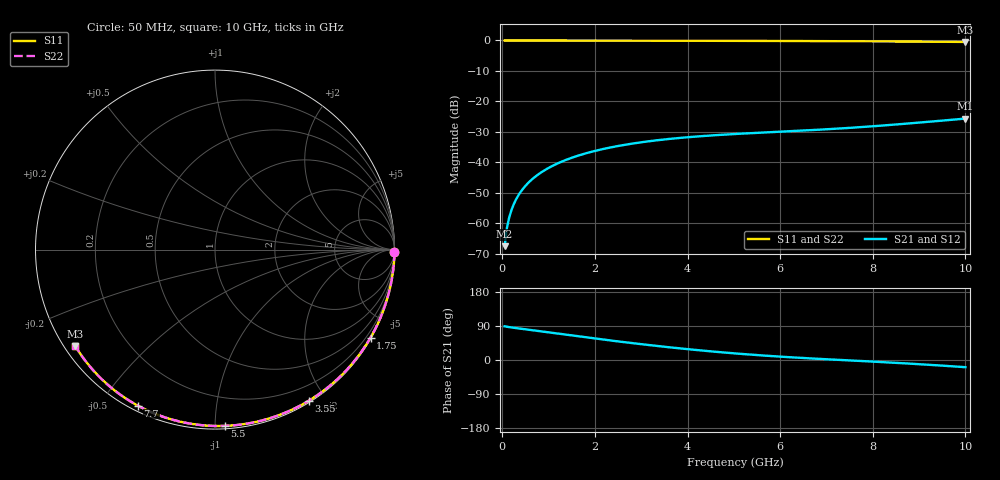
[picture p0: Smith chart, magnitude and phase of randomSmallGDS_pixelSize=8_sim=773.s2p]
! freq	dB(S11)	phase(S11)	dB(S12)	phase(S12)
!  dB(S21)	phase(S21)	dB(S22)	phase(S22)
!S-par simulation data
#  GHz  S  DB  R 50
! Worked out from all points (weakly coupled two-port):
!   200 points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, 50 MHz to 10 GHz, reference 50 ohm
!   highest |S21| = -25.62 dB at 10 GHz (marker M1); lowest = -67.5 dB at 50 MHz (marker M2)
!   lowest |S11| = -0.5 dB at 10 GHz (marker M3), VSWR 35.83, Z = 1.53 - j15.6 ohm
!   |S11| at or under -10 dB: nowhere
!   |S22| runs from -0.5 to 0.0 dB; largest |S21 - S12| = 0
!   S11 on the Smith chart (normalised r, x): 50 MHz: open; 1.75 GHz: 0.03, -3.80; 3.55 GHz: 0.02, -1.79; 5.5 GHz: 0.02, -1.06; 7.7 GHz: 0.02, -0.62; 10 GHz: 0.03, -0.31
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0.05  -0.00 -0.9  -67.47 88.8  -67.47 88.8  -0.00 -0.9
0.1  -0.00 -1.7  -61.48 87.7  -61.48 87.7  -0.00 -1.7
0.15  -0.00 -2.6  -57.99 86.8  -57.99 86.8  -0.00 -2.6
0.2  -0.00 -3.4  -55.53 85.9  -55.53 85.9  -0.00 -3.4
0.25  -0.00 -4.3  -53.62 85.0  -53.62 85.0  -0.00 -4.3
0.35  -0.00 -6.0  -50.74 83.4  -50.74 83.4  -0.00 -6.0
0.5  -0.01 -8.6  -47.69 81.0  -47.69 81.0  -0.01 -8.6
0.7  -0.01 -12.0  -44.82 77.7  -44.82 77.7  -0.01 -12.0
1  -0.02 -17.0  -41.81 72.8  -41.81 72.8  -0.02 -17.0
1.35  -0.03 -22.9  -39.33 67.1  -39.33 67.1  -0.03 -22.9
1.75  -0.04 -29.5  -37.26 60.6  -37.26 60.6  -0.04 -29.6
2.5  -0.05 -41.7  -34.61 49.1  -34.61 49.1  -0.05 -41.8
3.4  -0.08 -55.9  -32.63 36.3  -32.63 36.3  -0.08 -56.0
3.55  -0.08 -58.2  -32.38 34.3  -32.38 34.3  -0.08 -58.3
4.3  -0.10 -69.6  -31.38 25.1  -31.38 25.1  -0.10 -69.7
5.05  -0.13 -80.5  -30.66 17.1  -30.66 17.1  -0.13 -80.6
5.5  -0.14 -86.9  -30.30 13.0  -30.30 13.0  -0.14 -87.0
6.7  -0.20 -103.2  -29.39 3.9  -29.39 3.9  -0.20 -103.4
7.7  -0.27 -116.3  -28.47 -2.4  -28.47 -2.4  -0.27 -116.4
8.35  -0.32 -124.6  -27.74 -6.5  -27.74 -6.5  -0.32 -124.7
9.2  -0.40 -135.3  -26.68 -12.5  -26.68 -12.5  -0.40 -135.5
10  -0.48 -145.3  -25.62 -19.0  -25.62 -19.0  -0.49 -145.5
